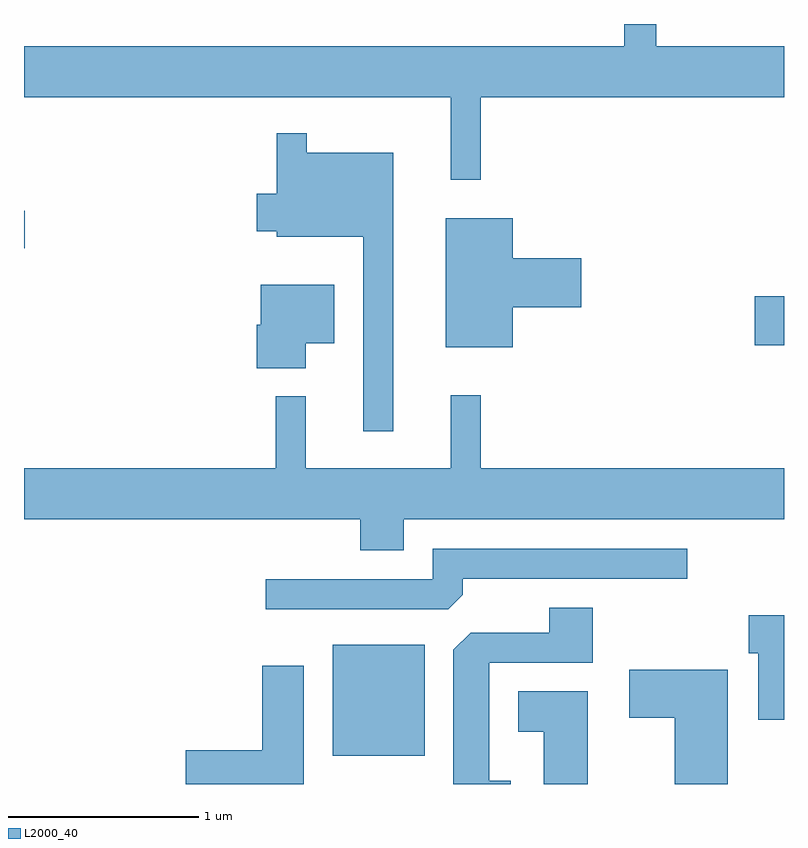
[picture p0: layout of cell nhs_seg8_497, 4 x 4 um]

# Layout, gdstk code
import gdstk
lib = gdstk.Library(unit=1e-6, precision=1e-09)
def R(c, l, rs):  # rectangles x0, y0, x1, y1
    for r in rs: c.add(gdstk.rectangle(r[:2], r[2:], *l))
def P(c, l, *ps):  # polygons
    for p in ps: c.add(gdstk.Polygon(p, *l))
L2000_40 = (2000, 40)

nhs_seg8_497 = lib.new_cell('nhs_seg8_497')
R(nhs_seg8_497, L2000_40, [(201.236,1848.491,201.719,1849.074), (203.456,1850.651,203.611,1850.909), (199.611,1851.161,199.614,1851.359)])
P(nhs_seg8_497, L2000_40, [(202.014,1851.956),(203.611,1851.956),(203.611,1852.224),(202.939,1852.224),(202.939,1852.342),(202.771,1852.342),(202.771,1852.224),(199.611,1852.224),(199.611,1851.956),(201.856,1851.956),(201.856,1851.523),(202.014,1851.523)],
  [(201.554,1851.664),(201.099,1851.664),(201.099,1851.768),(200.941,1851.768),(200.941,1851.449),(200.836,1851.449),(200.836,1851.251),(200.941,1851.251),(200.941,1851.221),(201.396,1851.221),(201.396,1850.198),(201.554,1850.198)],
  [(202.184,1850.851),(202.544,1850.851),(202.544,1851.109),(202.184,1851.109),(202.184,1851.319),(201.831,1851.319),(201.831,1850.641),(202.184,1850.641)],
  [(201.094,1850.661),(201.244,1850.661),(201.244,1850.969),(200.856,1850.969),(200.856,1850.759),(200.836,1850.759),(200.836,1850.531),(201.094,1850.531)],
  [(201.609,1849.736),(203.611,1849.736),(203.611,1850.004),(202.014,1850.004),(202.014,1850.388),(201.856,1850.388),(201.856,1850.004),(201.094,1850.004),(201.094,1850.383),(200.936,1850.383),(200.936,1850.004),(199.611,1850.004),(199.611,1849.736),(201.381,1849.736),(201.381,1849.571),(201.609,1849.571)],
  [(201.919,1849.337),(201.919,1849.421),(203.103,1849.421),(203.103,1849.579),(201.761,1849.579),(201.761,1849.419),(200.883,1849.419),(200.883,1849.261),(201.844,1849.261)],
  [(202.174,1848.359),(202.059,1848.359),(202.059,1848.981),(202.604,1848.981),(202.604,1849.269),(202.376,1849.269),(202.376,1849.139),(201.962,1849.139),(201.871,1849.049),(201.871,1848.342),(202.174,1848.342)],
  [(203.611,1849.229),(203.426,1849.229),(203.426,1849.031),(203.476,1849.031),(203.476,1848.681),(203.611,1848.681)],
  [(201.084,1848.964),(200.866,1848.964),(200.866,1848.519),(200.461,1848.519),(200.461,1848.342),(201.084,1848.342)],
  [(203.314,1848.944),(202.796,1848.944),(202.796,1848.691),(203.036,1848.691),(203.036,1848.342),(203.314,1848.342)],
  [(202.579,1848.829),(202.211,1848.829),(202.211,1848.616),(202.346,1848.616),(202.346,1848.342),(202.579,1848.342)])

lib.write_gds('nhs_seg8_497.gds')
